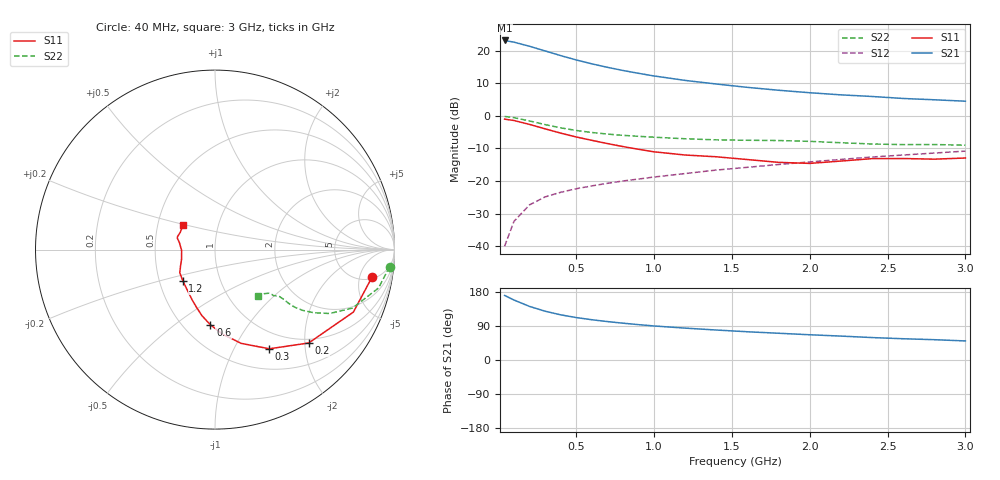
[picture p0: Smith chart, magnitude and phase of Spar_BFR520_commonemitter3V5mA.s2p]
! Filename:  BFR520B.S2P  Version:  2.1
! NXP part #: BFR520  Date: Sep 1991
! Bias condition: Vce=3V, Ic=5mA
#  MHz  S  MA  R  50
! Freq  S11  S21  S12  S22  !GUM [dB]
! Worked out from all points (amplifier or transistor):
!   21 points, 40 MHz to 3 GHz, reference 50 ohm
!   highest |S21| = 23.1 dB at 40 MHz (marker M1)
!   |S21| within 3 dB of that: start of sweep to 285.3 MHz
!   unconditionally stable (mu >= 1): 1.415 GHz to end of sweep
!   at 300 MHz: K = 0.43, MSG = 22.4 dB, |S12| = -24.9 dB
!   at 1 GHz: K = 0.92, MSG = 15.5 dB, |S12| = -18.8 dB
!   at 3 GHz: K = 1.03, MAG = 6.6 dB, |S12| = -10.8 dB
!   lowest NFmin = 0.90 dB at 500 MHz
!   S11 on the Smith chart (normalised r, x): 40 MHz: 5.35, -7.80; 200 MHz: 0.92, -2.08; 300 MHz: 0.76, -1.40; 600 MHz: 0.67, -0.68; 1.2 GHz: 0.66, -0.25; 3 GHz: 0.67, +0.19
40  0.888 -10.0  14.29 170.5  0.01 84.7  0.977 -5.6
100  0.846 -24.3  13.46 158.3  0.024 76.9  0.936 -13.2
200  0.737 -44.9  11.64 141.4  0.043 68.1  0.833 -23.0
300  0.63 -61.3  9.877 128.8  0.057 63.2  0.732 -29.1
400  0.542 -74.5  8.377 119.2  0.067 60.5  0.653 -32.6
500  0.473 -84.8  7.179 112.0  0.076 59.6  0.595 -34.7
600  0.42 -93.5  6.263 106.3  0.084 59.6  0.554 -35.7
700  0.375 -101.2  5.539 101.4  0.092 60.3  0.524 -36.1
800  0.337 -107.9  4.952 97.2  0.1 61.0  0.501 -36.1
900  0.306 -114.9  4.479 93.3  0.107 61.7  0.484 -36.0
1000  0.28 -122.1  4.078 89.8  0.115 62.4  0.469 -35.9
1200  0.25 -135.7  3.484 84.1  0.13 63.7  0.444 -36.1
1400  0.235 -146.6  3.068 79.1  0.147 64.5  0.427 -37.2
1600  0.213 -154.4  2.727 74.5  0.162 65.1  0.421 -37.5
1800  0.193 -164.6  2.462 70.6  0.179 66.0  0.417 -38.2
2000  0.186 -178.6  2.256 66.6  0.196 66.0  0.405 -38.2
2200  0.202 168.9  2.093 63.1  0.214 66.0  0.386 -39.0
2400  0.22 163.0  1.977 59.2  0.233 65.6  0.369 -41.7
2600  0.221 160.7  1.842 56.1  0.25 65.1  0.361 -45.1
2800  0.216 153.7  1.759 53.6  0.268 65.0  0.362 -47.0
3000  0.225 142.6  1.673 50.3  0.287 64.3  0.354 -47.4
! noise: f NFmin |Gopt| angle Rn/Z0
500  0.9  0.4  26  0.25
900  1.1  0.331  47  0.26
1000  1.15  0.336  49  0.25
2000  1.85  0.211  145  0.14
